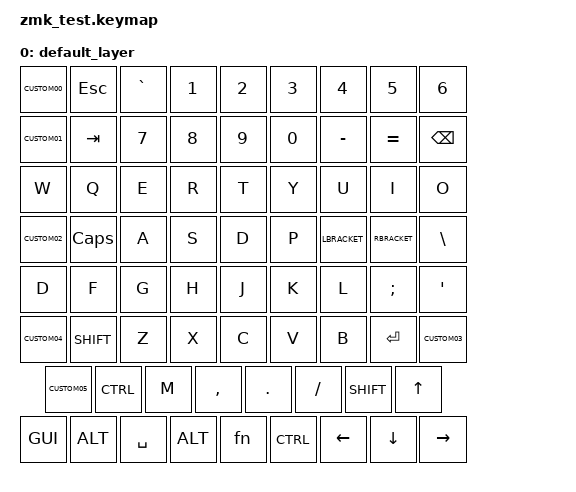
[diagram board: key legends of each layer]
#include <behaviors.dtsi>
#include <dt-bindings/zmk/keys.h>

/ {
    keymap {
        compatible = "zmk,keymap";

        default_layer {
            bindings = <
                // 第1行：CU1, ESC, `, 1, 2, 3, 4, 5, 6
                &kp CUSTOM00    &kp ESC     &kp GRAVE   &kp 1    &kp 2    &kp 3    &kp 4    &kp 5    &kp 6

                // 第2行：CU2, TAB, 7, 8, 9, 0, -, =, BACK
                &kp CUSTOM01    &kp TAB     &kp 7       &kp 8    &kp 9    &kp 0    &kp MINUS &kp EQUAL &kp BACKSPACE

                // 第3行：W, Q, E, R, T, Y, U, I, O
                &kp W          &kp Q       &kp E       &kp R    &kp T    &kp Y    &kp U    &kp I    &kp O

                // 第4行：CU3, CAPS, A, S, D, P, [, ], \
                &kp CUSTOM02    &kp CAPS    &kp A       &kp S    &kp D    &kp P    &kp LBRACKET &kp RBRACKET &kp BACKSLASH

                // 第5行：D, F, G, H, J, K, L, ;, '
                &kp D          &kp F       &kp G       &kp H    &kp J    &kp K    &kp L    &kp SEMICOLON &kp APOSTROPHE

                // 第6行：CU5, SHIFT, Z, X, C, V, B, ENTER, CU4
                &kp CUSTOM04    &kp SHIFT   &kp Z       &kp X    &kp C    &kp V    &kp B    &kp ENTER &kp CUSTOM03

                // 第7行：CU6, CTRL, N, M, , , . , / , SHIFT, UP
                &kp CUSTOM05    &kp CTRL    &kp M       &kp COMMA &kp DOT &kp SLASH &kp SHIFT &kp UP

                // 第8行：WIN, ALT, SPACE, ALT, FN, CTRL, LEFT, DOWN, RIGHT
                &kp GUI        &kp ALT     &kp SPACE   &kp ALT  &fn      &kp CTRL &kp LEFT &kp DOWN &kp RIGHT
            >;
        };
    };
};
